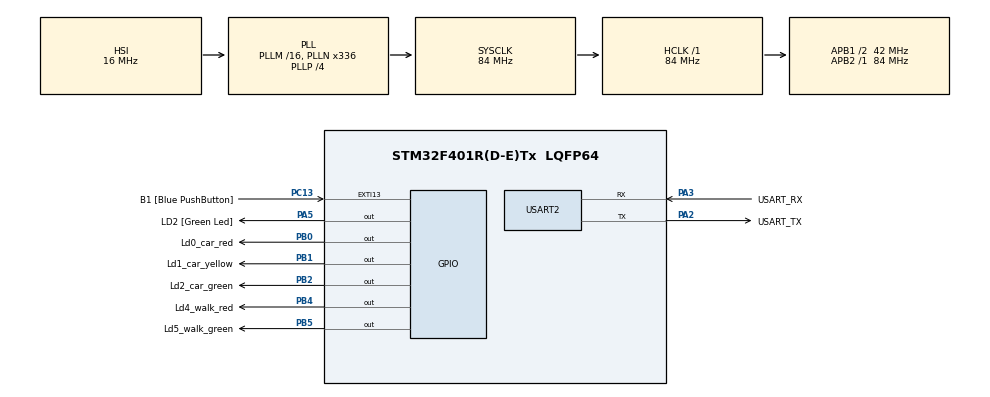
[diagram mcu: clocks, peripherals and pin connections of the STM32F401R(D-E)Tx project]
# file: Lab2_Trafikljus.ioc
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Mcu.Family=STM32F4
Mcu.Name=STM32F401R(D-E)Tx
Mcu.Package=LQFP64
NVIC.EXTI15_10_IRQn=true\:0\:0\:false\:false\:true\:true\:true\:true
NVIC.PriorityGroup=NVIC_PRIORITYGROUP_0
PA13.GPIO_Label=TMS
PA13.Mode=Serial_Wire
PA13.Signal=SYS_JTMS-SWDIO
PA14.GPIO_Label=TCK
PA14.Mode=Serial_Wire
PA14.Signal=SYS_JTCK-SWCLK
PA2.GPIO_Label=USART_TX
PA2.GPIO_Mode=GPIO_MODE_AF_PP
PA2.GPIO_PuPd=GPIO_NOPULL
PA2.GPIO_Speed=GPIO_SPEED_FREQ_LOW
PA2.Mode=Asynchronous
PA2.Signal=USART2_TX
PA3.GPIO_Label=USART_RX
PA3.GPIO_Mode=GPIO_MODE_AF_PP
PA3.GPIO_PuPd=GPIO_NOPULL
PA3.GPIO_Speed=GPIO_SPEED_FREQ_LOW
PA3.Mode=Asynchronous
PA3.Signal=USART2_RX
PA5.GPIO_Label=LD2 [Green Led]
PA5.GPIO_Mode=GPIO_MODE_OUTPUT_PP
PA5.GPIO_PuPd=GPIO_NOPULL
PA5.GPIO_Speed=GPIO_SPEED_FREQ_LOW
PA5.Signal=GPIO_Output
PB0.GPIO_Label=Ld0_car_red
PB0.Signal=GPIO_Output
PB1.GPIO_Label=Ld1_car_yellow
PB1.Signal=GPIO_Output
PB2.GPIO_Label=Ld2_car_green
PB2.Signal=GPIO_Output
PB3.GPIO_Label=SWO
PB3.Signal=SYS_JTDO-SWO
PB4.GPIO_Label=Ld4_walk_red
PB4.Signal=GPIO_Output
PB5.GPIO_Label=Ld5_walk_green
PB5.Signal=GPIO_Output
PC13-ANTI_TAMP.GPIO_Label=B1 [Blue PushButton]
PC13-ANTI_TAMP.GPIO_ModeDefaultEXTI=GPIO_MODE_IT_FALLING
PC13-ANTI_TAMP.GPIO_PuPd=GPIO_NOPULL
PC13-ANTI_TAMP.Signal=GPXTI13
PC14-OSC32_IN.Mode=LSE-External-Oscillator
PC14-OSC32_IN.Signal=RCC_OSC32_IN
PC15-OSC32_OUT.Mode=LSE-External-Oscillator
PC15-OSC32_OUT.Signal=RCC_OSC32_OUT
PH0\ -\ OSC_IN.Mode=HSE-External-Clock-Source
PH0\ -\ OSC_IN.Signal=RCC_OSC_IN
PH1\ -\ OSC_OUT.Mode=HSE-External-Clock-Source
PH1\ -\ OSC_OUT.Signal=RCC_OSC_OUT
ProjectManager.HeapSize=0x200
ProjectManager.StackSize=0x400
ProjectManager.TargetToolchain=STM32CubeIDE
RCC.48MHZClocksFreq_Value=48000000
RCC.AHBFreq_Value=84000000
RCC.APB1CLKDivider=RCC_HCLK_DIV2
RCC.APB1Freq_Value=42000000
RCC.APB1TimFreq_Value=84000000
RCC.APB2Freq_Value=84000000
RCC.APB2TimFreq_Value=84000000
RCC.CortexFreq_Value=84000000
RCC.HCLKFreq_Value=84000000
RCC.HSE_VALUE=8000000
RCC.HSI_VALUE=16000000
RCC.PLLN=336
RCC.PLLP=RCC_PLLP_DIV4
RCC.PLLQ=7
RCC.SYSCLKFreq_VALUE=84000000
RCC.SYSCLKSource=RCC_SYSCLKSOURCE_PLLCLK
RCC.VCOOutputFreq_Value=336000000
USART2.VirtualMode=VM_ASYNC
board=NUCLEO-F401RE

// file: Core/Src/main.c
/* USER CODE BEGIN Header */
/**
 ******************************************************************************
 * @file           : main.c
 * @brief          : Main program body
 ******************************************************************************
 * @attention
 *
 * Copyright (c) 2024 STMicroelectronics.
 * All rights reserved.
 *
 * This software is licensed under terms that can be found in the LICENSE file
 * in the root directory of this software component.
 * If no LICENSE file comes with this software, it is provided AS-IS.
 *
 ******************************************************************************
 */
/* USER CODE END Header */
#include "main.h"

UART_HandleTypeDef huart2;
uint32_t ticks_left_in_state = 0;

void SystemClock_Config(void);
static void MX_GPIO_Init(void);
static void MX_USART2_UART_Init(void);
/* USER CODE BEGIN PFP */
void set_traffic_lights(enum state s);
int is_blue_button_pressed();
void evq_init();
#define EVQ_SIZE 10 //event queue
enum event evq[ EVQ_SIZE ];
int evq_count = 0;
int evq_front_ix = 0;
int evq_rear_ix = 0;
void evq_push_back(enum event e);
enum event evq_pop_front();
void HAL_GPIO_EXTI_Callback( uint16_t GPIO_Pin );

/* USER CODE END PFP */

/* USER CODE BEGIN 0 */
int is_blue_button_pressed(){
	uint32_t reg_reading = GPIOC->IDR;
	uint16_t B1_pin_nbr = 13;
	uint16_t B1_pin = 0x1 << B1_pin_nbr;
	return !(reg_reading & B1_pin);
}
void set_traffic_lights(enum state s){

	switch(s){

	case s_init:

		HAL_GPIO_WritePin(GPIOB, GPIO_PIN_0, GPIO_PIN_SET);
		HAL_GPIO_WritePin(GPIOB, GPIO_PIN_1, GPIO_PIN_SET);
		HAL_GPIO_WritePin(GPIOB, GPIO_PIN_2, GPIO_PIN_SET);
		HAL_GPIO_WritePin(GPIOB, GPIO_PIN_4, GPIO_PIN_SET);
		HAL_GPIO_WritePin(GPIOB, GPIO_PIN_5, GPIO_PIN_SET);

		break;
	case s_car_go:

		HAL_GPIO_WritePin(GPIOB, GPIO_PIN_0, GPIO_PIN_RESET);
		HAL_GPIO_WritePin(GPIOB, GPIO_PIN_1, GPIO_PIN_RESET);
		HAL_GPIO_WritePin(GPIOB, GPIO_PIN_2, GPIO_PIN_SET);
		HAL_GPIO_WritePin(GPIOB, GPIO_PIN_4, GPIO_PIN_SET);
		HAL_GPIO_WritePin(GPIOB, GPIO_PIN_5, GPIO_PIN_RESET);

		break;

	case s_car_go_soon:

		HAL_GPIO_WritePin(GPIOB, GPIO_PIN_0, GPIO_PIN_SET);
		HAL_GPIO_WritePin(GPIOB, GPIO_PIN_1, GPIO_PIN_SET);
		HAL_GPIO_WritePin(GPIOB, GPIO_PIN_2, GPIO_PIN_RESET);
		HAL_GPIO_WritePin(GPIOB, GPIO_PIN_4, GPIO_PIN_SET);
		HAL_GPIO_WritePin(GPIOB, GPIO_PIN_5, GPIO_PIN_RESET);

		break;

	case s_car_stopping:

		HAL_GPIO_WritePin(GPIOB, GPIO_PIN_0, GPIO_PIN_SET);
		HAL_GPIO_WritePin(GPIOB, GPIO_PIN_1, GPIO_PIN_RESET);
		HAL_GPIO_WritePin(GPIOB, GPIO_PIN_2, GPIO_PIN_RESET);
		HAL_GPIO_WritePin(GPIOB, GPIO_PIN_4, GPIO_PIN_SET);
		HAL_GPIO_WritePin(GPIOB, GPIO_PIN_5, GPIO_PIN_RESET);

		break;

	case s_pushed_wait:

		HAL_GPIO_WritePin(GPIOB, GPIO_PIN_0, GPIO_PIN_RESET);
		HAL_GPIO_WritePin(GPIOB, GPIO_PIN_1, GPIO_PIN_SET);
		HAL_GPIO_WritePin(GPIOB, GPIO_PIN_2, GPIO_PIN_RESET);
		HAL_GPIO_WritePin(GPIOB, GPIO_PIN_4, GPIO_PIN_SET);
		HAL_GPIO_WritePin(GPIOB, GPIO_PIN_5, GPIO_PIN_RESET);

		break;

	case s_walk:

		HAL_GPIO_WritePin(GPIOB, GPIO_PIN_0, GPIO_PIN_SET);
		HAL_GPIO_WritePin(GPIOB, GPIO_PIN_1, GPIO_PIN_RESET);
		HAL_GPIO_WritePin(GPIOB, GPIO_PIN_2, GPIO_PIN_RESET);
		HAL_GPIO_WritePin(GPIOB, GPIO_PIN_4, GPIO_PIN_RESET);
		HAL_GPIO_WritePin(GPIOB, GPIO_PIN_5, GPIO_PIN_SET);

		break;

	case sa_bothstop:

		HAL_GPIO_WritePin(GPIOB, GPIO_PIN_0, GPIO_PIN_SET);
		HAL_GPIO_WritePin(GPIOB, GPIO_PIN_1, GPIO_PIN_RESET);
		HAL_GPIO_WritePin(GPIOB, GPIO_PIN_2, GPIO_PIN_RESET);
		HAL_GPIO_WritePin(GPIOB, GPIO_PIN_4, GPIO_PIN_SET);
		HAL_GPIO_WritePin(GPIOB, GPIO_PIN_5, GPIO_PIN_RESET);

		break;
	case sb_bothstop:

		HAL_GPIO_WritePin(GPIOB, GPIO_PIN_0, GPIO_PIN_SET);
		HAL_GPIO_WritePin(GPIOB, GPIO_PIN_1, GPIO_PIN_RESET);
		HAL_GPIO_WritePin(GPIOB, GPIO_PIN_2, GPIO_PIN_RESET);
		HAL_GPIO_WritePin(GPIOB, GPIO_PIN_4, GPIO_PIN_SET);
		HAL_GPIO_WritePin(GPIOB, GPIO_PIN_5, GPIO_PIN_RESET);

		break;

	default:

		HAL_GPIO_WritePin(GPIOB, GPIO_PIN_0, GPIO_PIN_SET);
		HAL_GPIO_WritePin(GPIOB, GPIO_PIN_1, GPIO_PIN_SET);
		HAL_GPIO_WritePin(GPIOB, GPIO_PIN_2, GPIO_PIN_SET);
		HAL_GPIO_WritePin(GPIOB, GPIO_PIN_4, GPIO_PIN_SET);
		HAL_GPIO_WritePin(GPIOB, GPIO_PIN_5, GPIO_PIN_SET);

		break;
	}

}
void evq_init(){
	for(int i = 0; i<EVQ_SIZE; ++i){
		evq[i] = ev_error;
	}

}
void evq_push_back(enum event e){

	if ( evq_count < EVQ_SIZE )
	{
		evq[evq_rear_ix] = e;
		evq_rear_ix++;
		evq_rear_ix %= EVQ_SIZE;
		evq_count++;
	}

}
enum event evq_pop_front(){
	enum event e = ev_none;
	if ( evq_count > 0 )
	{
		e = evq[evq_front_ix];
		evq[evq_front_ix] = ev_error;
		evq_front_ix++;
		evq_front_ix %= EVQ_SIZE;
		evq_count--;
	}
	return e;

}
int systick_count = 0;
void my_systick_handler()
{
	systick_count++;
	if (systick_count == 1000)
	{
		HAL_GPIO_TogglePin(LD2_GPIO_Port, LD2_Pin);
		systick_count = 0;
	}

	if (ticks_left_in_state > 0) {
		ticks_left_in_state --;
		if(ticks_left_in_state == 0){
			evq_push_back(ev_state_timeout);
		}
	}

}
void HAL_GPIO_EXTI_Callback( uint16_t GPIO_Pin ){
	if(GPIO_Pin == B1_Pin){

		evq_push_back(ev_button_push);
	}

}

/* USER CODE END 0 */

int main(void)
{

	/* MCU Configuration--------------------------------------------------------*/

	/* Reset of all peripherals, Initializes the Flash interface and the Systick. */
	HAL_Init();

	/* Configure the system clock */
	SystemClock_Config();

	/* Initialize all configured peripherals */
	MX_GPIO_Init();
	MX_USART2_UART_Init();

	/* Infinite loop */
	/* USER CODE BEGIN WHILE */
	enum state st = s_init; //kunna_hålla state
	enum event ev = ev_none; //kunna_hålla event
	evq_init();
	while (1)
	{
		ev = evq_pop_front();

		switch(st) {

		case s_init:
			if(ev == ev_button_push)
			{
				ev = ev_none; // clear event
				st = sa_bothstop; // set next state
				ticks_left_in_state = 1000; // set next timeout
				set_traffic_lights(st); // set output
			}
			break;
		case s_car_stopping:
			if ( ev == ev_state_timeout )
			{
				ev = ev_none; // clear event
				st = sa_bothstop; // set next state
				ticks_left_in_state = 1000; // set next timeout
				set_traffic_lights(st); // set output
			}
			break;
		case sa_bothstop:
			if ( ev == ev_state_timeout )
			{
				ev = ev_none; // clear event
				st = s_walk; // set next state
				ticks_left_in_state = 2000; // set next timeout
				set_traffic_lights(st); // set output
			}
			break;
		case s_walk:
			if ( ev == ev_state_timeout)
			{
				ev = ev_none; // clear event
				st = sb_bothstop; // set next state
				ticks_left_in_state = 1000; // set next timeout
				set_traffic_lights(st); // set output
			}
			break;

		case sb_bothstop:
			if ( ev == ev_state_timeout )
			{
				ev = ev_none; // clear event
				st = s_car_go_soon; // set next state
				ticks_left_in_state = 1000; // set next timeout
				set_traffic_lights(st); // set output
			}
			break;

		case s_car_go_soon://first
			if ( ev == ev_state_timeout )
			{
				ev = ev_none; // clear event
				st = s_car_go; // set next state
				ticks_left_in_state = 1000; // set next timeout
				set_traffic_lights(st); // set output
			}
			break;

		case s_car_go://second
			if ( ev == ev_button_push )
			{
				ev = ev_none; // clear event
				st = s_pushed_wait; // set next state
				ticks_left_in_state = 1000; // set next timeout
				set_traffic_lights(st); // set output
			}
			break;
		case s_pushed_wait://third
			if ( ev == ev_state_timeout )
			{
				ev = ev_none; // clear event
				st = s_car_stopping; // set next state
				ticks_left_in_state = 1000; // set next timeout
				set_traffic_lights(st); // set output
			}
			break;

		default:

			ev = ev_none; // clear event
			st = s_init; // set next state
			ticks_left_in_state = 1000; // set next timeout
			set_traffic_lights(st); // set output

			break;

		}

		/* USER CODE END WHILE */

	}
}

void SystemClock_Config(void)
{
	RCC_OscInitTypeDef RCC_OscInitStruct = {0};
	RCC_ClkInitTypeDef RCC_ClkInitStruct = {0};

	/** Configure the main internal regulator output voltage
	 */
	__HAL_RCC_PWR_CLK_ENABLE();
	__HAL_PWR_VOLTAGESCALING_CONFIG(PWR_REGULATOR_VOLTAGE_SCALE2);

	/** Initializes the RCC Oscillators according to the specified parameters
	 * in the RCC_OscInitTypeDef structure.
	 */
	RCC_OscInitStruct.OscillatorType = RCC_OSCILLATORTYPE_HSI;
	RCC_OscInitStruct.HSIState = RCC_HSI_ON;
	RCC_OscInitStruct.HSICalibrationValue = RCC_HSICALIBRATION_DEFAULT;
	RCC_OscInitStruct.PLL.PLLState = RCC_PLL_ON;
	RCC_OscInitStruct.PLL.PLLSource = RCC_PLLSOURCE_HSI;
	RCC_OscInitStruct.PLL.PLLM = 16;
	RCC_OscInitStruct.PLL.PLLN = 336;
	RCC_OscInitStruct.PLL.PLLP = RCC_PLLP_DIV4;
	RCC_OscInitStruct.PLL.PLLQ = 7;
	if (HAL_RCC_OscConfig(&RCC_OscInitStruct) != HAL_OK)
	{
		Error_Handler();
	}

	/** Initializes the CPU, AHB and APB buses clocks
	 */
	RCC_ClkInitStruct.ClockType = RCC_CLOCKTYPE_HCLK|RCC_CLOCKTYPE_SYSCLK
			|RCC_CLOCKTYPE_PCLK1|RCC_CLOCKTYPE_PCLK2;
	RCC_ClkInitStruct.SYSCLKSource = RCC_SYSCLKSOURCE_PLLCLK;
	RCC_ClkInitStruct.AHBCLKDivider = RCC_SYSCLK_DIV1;
	RCC_ClkInitStruct.APB1CLKDivider = RCC_HCLK_DIV2;
	RCC_ClkInitStruct.APB2CLKDivider = RCC_HCLK_DIV1;

	if (HAL_RCC_ClockConfig(&RCC_ClkInitStruct, FLASH_LATENCY_2) != HAL_OK)
	{
		Error_Handler();
	}
}

static void MX_USART2_UART_Init(void)
{

	huart2.Instance = USART2;
	huart2.Init.BaudRate = 115200;
	huart2.Init.WordLength = UART_WORDLENGTH_8B;
	huart2.Init.StopBits = UART_STOPBITS_1;
	huart2.Init.Parity = UART_PARITY_NONE;
	huart2.Init.Mode = UART_MODE_TX_RX;
	huart2.Init.HwFlowCtl = UART_HWCONTROL_NONE;
	huart2.Init.OverSampling = UART_OVERSAMPLING_16;
	if (HAL_UART_Init(&huart2) != HAL_OK)
	{
		Error_Handler();
	}

}

static void MX_GPIO_Init(void)
{
	GPIO_InitTypeDef GPIO_InitStruct = {0};

	/* GPIO Ports Clock Enable */
	__HAL_RCC_GPIOC_CLK_ENABLE();
	__HAL_RCC_GPIOH_CLK_ENABLE();
	__HAL_RCC_GPIOA_CLK_ENABLE();
	__HAL_RCC_GPIOB_CLK_ENABLE();

	/*Configure GPIO pin Output Level */
	HAL_GPIO_WritePin(LD2_GPIO_Port, LD2_Pin, GPIO_PIN_RESET);

	/*Configure GPIO pin Output Level */
	HAL_GPIO_WritePin(GPIOB, Ld0_car_red_Pin|Ld1_car_yellow_Pin|Ld2_car_green_Pin|Ld4_walk_red_Pin
			|Ld5_walk_green_Pin, GPIO_PIN_RESET);

	/*Configure GPIO pin : B1_Pin */
	GPIO_InitStruct.Pin = B1_Pin;
	GPIO_InitStruct.Mode = GPIO_MODE_IT_FALLING;
	GPIO_InitStruct.Pull = GPIO_NOPULL;
	HAL_GPIO_Init(B1_GPIO_Port, &GPIO_InitStruct);

	/*Configure GPIO pin : LD2_Pin */
	GPIO_InitStruct.Pin = LD2_Pin;
	GPIO_InitStruct.Mode = GPIO_MODE_OUTPUT_PP;
	GPIO_InitStruct.Pull = GPIO_NOPULL;
	GPIO_InitStruct.Speed = GPIO_SPEED_FREQ_LOW;
	HAL_GPIO_Init(LD2_GPIO_Port, &GPIO_InitStruct);

	/*Configure GPIO pins : Ld0_car_red_Pin Ld1_car_yellow_Pin Ld2_car_green_Pin Ld4_walk_red_Pin
                           Ld5_walk_green_Pin */
	GPIO_InitStruct.Pin = Ld0_car_red_Pin|Ld1_car_yellow_Pin|Ld2_car_green_Pin|Ld4_walk_red_Pin
			|Ld5_walk_green_Pin;
	GPIO_InitStruct.Mode = GPIO_MODE_OUTPUT_PP;
	GPIO_InitStruct.Pull = GPIO_NOPULL;
	GPIO_InitStruct.Speed = GPIO_SPEED_FREQ_LOW;
	HAL_GPIO_Init(GPIOB, &GPIO_InitStruct);

	/* EXTI interrupt init*/
	HAL_NVIC_SetPriority(EXTI15_10_IRQn, 0, 0);
	HAL_NVIC_EnableIRQ(EXTI15_10_IRQn);

}

void Error_Handler(void)
{
	__disable_irq();
	while (1)
	{
	}
}
